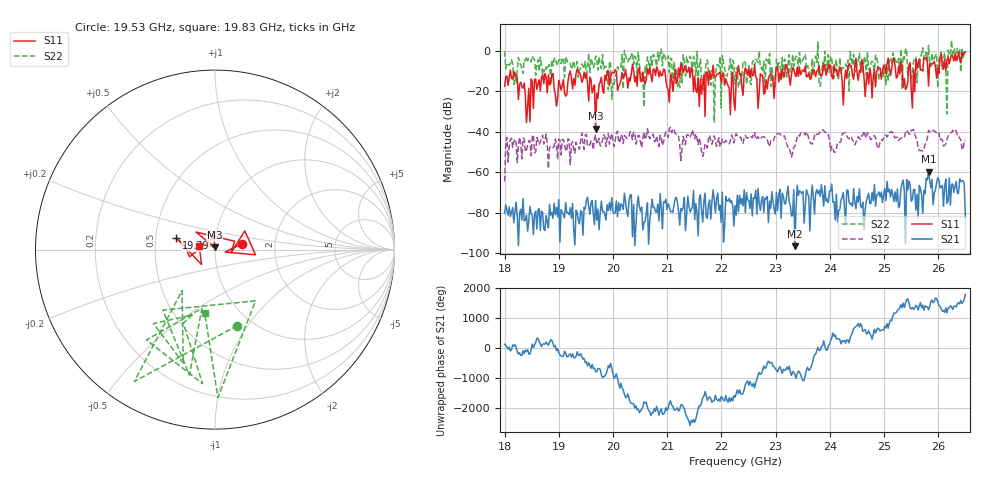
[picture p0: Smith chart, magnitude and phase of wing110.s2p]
!Keysight Technologies,N5242B,MY47200105,A.14.00.23
!Date: Friday, May 10, 2024 11:03:37
!Correction: S11(C  2-Port  )
!S21(C  2-Port  )
!S12(C  2-Port  )
!S22(C  2-Port  )
!S2P File: Measurement: :
# Hz S  RI  R 50
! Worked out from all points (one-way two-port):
!   401 points, 18 GHz to 26.5 GHz, reference 50 ohm
!   highest |S21| = -59.72 dB at 25.82 GHz (marker M1); lowest = -96.5 dB at 23.36 GHz (marker M2)
!   lowest |S11| = -38.4 dB at 19.68 GHz (marker M3), VSWR 1.02, Z = 49.9 + j1.19 ohm
!   |S11| at or under -10 dB: 18.11 GHz to 19.21 GHz (1.101 GHz wide, 5.9 % of centre); 19.35 GHz to 19.9 GHz (550.1 MHz wide, 2.8 % of centre); 21.86 GHz to 22.3 GHz (439 MHz wide, 1.99 % of centre) (the widest 3 of 60)
!   |S22| runs from -35.1 to 5.2 dB; largest |S21 - S12| = 0.013
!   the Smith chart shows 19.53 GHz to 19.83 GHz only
!   S11 on the Smith chart (normalised r, x): 19.53 GHz: 1.35, +0.09; 19.79 GHz: 0.64, +0.09; 19.83 GHz: 0.84, +0.04
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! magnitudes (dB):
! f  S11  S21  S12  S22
! 18 GHz  -17.5  -80.2  -64.5  -0.1
! 18.43 GHz  -27.5  -89.1  -46.7  -4.9
! 18.72 GHz  -16.1  -88.1  -46.1  -9.3
! 19.42 GHz  -15.5  -79.4  -40.7  -6.4
! 19.53 GHz  -16.3  -72.3  -47.2  -7.1
! 19.68 GHz  -38.4  -74.0  -41.6  -2.5
! 19.79 GHz  -13.0  -74.3  -46.9  -8.8
! 19.83 GHz  -20.9  -79.3  -41.5  -8.9
! 20.02 GHz  -11.0  -80.4  -47.3  -16.5
! 20.38 GHz  -9.4  -75.8  -40.1  -6.6
! 20.55 GHz  -10.5  -88.4  -43.1  -13.8
! 20.85 GHz  -12.8  -84.1  -47.3  -4.6
! 21.23 GHz  -13.0  -86.1  -46.2  -18.2
! 21.4 GHz  -8.1  -76.4  -42.1  -4.4
! 21.85 GHz  -7.1  -68.7  -43.7  -8.8
! 22.25 GHz  -29.3  -76.6  -42.5  -16.4
! 23.36 GHz  -11.4  -96.5  -47.1  -4.1
! 23.67 GHz  -10.7  -66.3  -46.0  -3.8
! 25.1 GHz  -8.6  -68.4  -40.1  -5.9
! 25.39 GHz  -19.1  -95.4  -40.3  0.4
! 25.82 GHz  -17.4  -59.7  -39.3  2.8
! 26.5 GHz  -0.6  -82.0  -44.5  0.7
